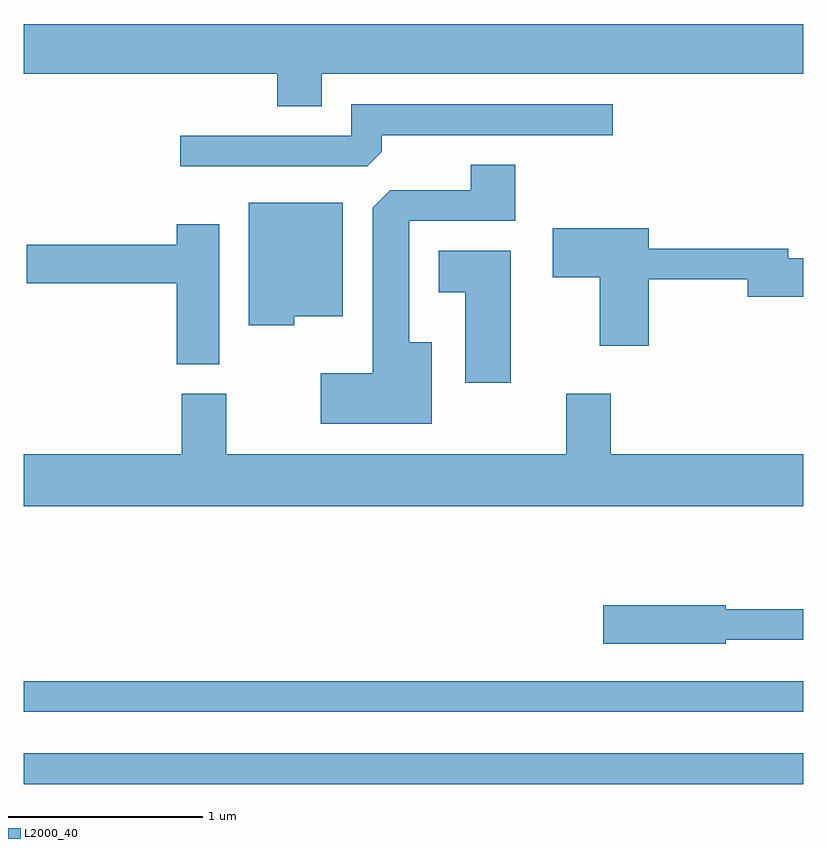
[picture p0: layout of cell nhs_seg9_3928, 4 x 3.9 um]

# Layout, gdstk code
import gdstk
lib = gdstk.Library(unit=1e-6, precision=1e-09)
def R(c, l, rs):  # rectangles x0, y0, x1, y1
    for r in rs: c.add(gdstk.rectangle(r[:2], r[2:], *l))
def P(c, l, *ps):  # polygons
    for p in ps: c.add(gdstk.Polygon(p, *l))
L2000_40 = (2000, 40)

nhs_seg9_3928 = lib.new_cell('nhs_seg9_3928')
R(nhs_seg9_3928, L2000_40, [(299.611,2072.531,303.611,2072.689), (299.611,2072.901,303.611,2073.059)])
P(nhs_seg9_3928, L2000_40, [(301.139,2076.176),(303.611,2076.176),(303.611,2076.432),(299.611,2076.432),(299.611,2076.176),(300.911,2076.176),(300.911,2076.011),(301.139,2076.011)],
  [(301.449,2075.777),(301.449,2075.861),(302.633,2075.861),(302.633,2076.019),(301.291,2076.019),(301.291,2075.859),(300.413,2075.859),(300.413,2075.701),(301.374,2075.701)],
  [(301.704,2074.799),(301.589,2074.799),(301.589,2075.421),(302.134,2075.421),(302.134,2075.709),(301.906,2075.709),(301.906,2075.579),(301.492,2075.579),(301.401,2075.489),(301.401,2074.639),(301.136,2074.639),(301.136,2074.381),(301.704,2074.381)],
  [(300.999,2074.931),(301.249,2074.931),(301.249,2075.514),(300.766,2075.514),(300.766,2074.886),(300.999,2074.886)],
  [(300.614,2075.404),(300.396,2075.404),(300.396,2075.299),(299.626,2075.299),(299.626,2075.101),(300.396,2075.101),(300.396,2074.686),(300.614,2074.686)],
  [(302.819,2075.121),(303.326,2075.121),(303.326,2075.031),(303.611,2075.031),(303.611,2075.229),(303.534,2075.229),(303.534,2075.279),(302.819,2075.279),(302.819,2075.384),(302.326,2075.384),(302.326,2075.131),(302.566,2075.131),(302.566,2074.781),(302.819,2074.781)],
  [(302.109,2075.269),(301.741,2075.269),(301.741,2075.056),(301.876,2075.056),(301.876,2074.591),(302.109,2074.591)],
  [(303.611,2074.224),(302.624,2074.224),(302.624,2074.534),(302.396,2074.534),(302.396,2074.224),(300.649,2074.224),(300.649,2074.534),(300.421,2074.534),(300.421,2074.224),(299.611,2074.224),(299.611,2073.956),(303.611,2073.956)],
  [(303.214,2073.271),(303.611,2073.271),(303.611,2073.429),(303.214,2073.429),(303.214,2073.449),(302.586,2073.449),(302.586,2073.251),(303.214,2073.251)])

lib.write_gds('nhs_seg9_3928.gds')
